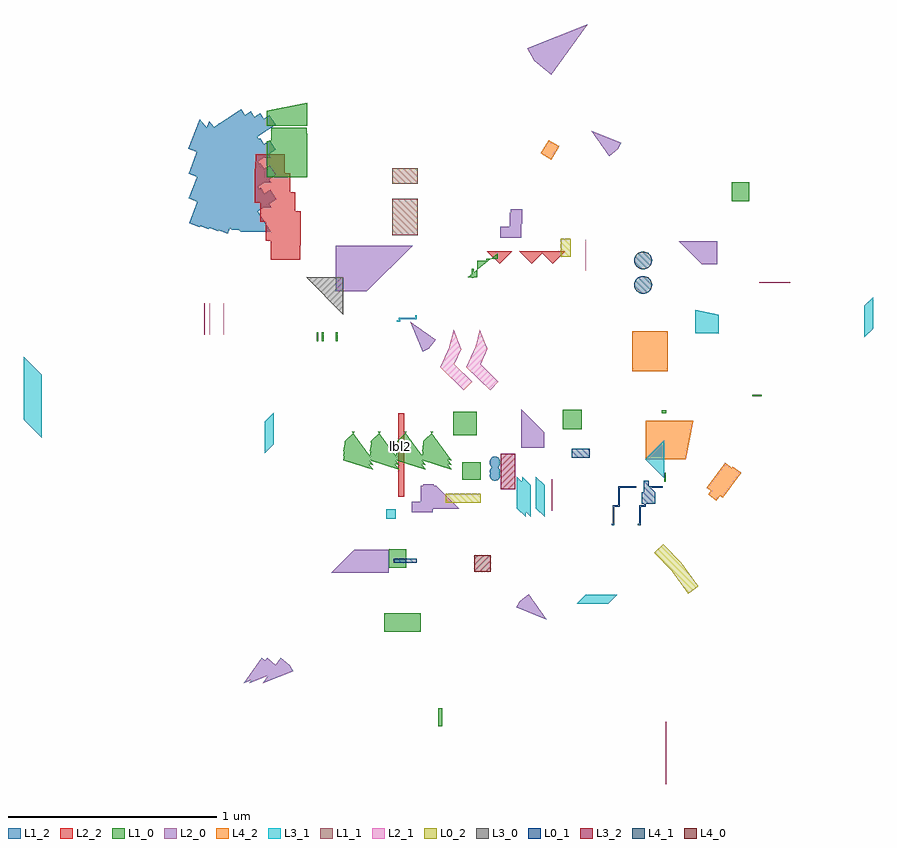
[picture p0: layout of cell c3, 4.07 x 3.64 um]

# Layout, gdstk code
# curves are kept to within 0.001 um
from math import pi, radians
import gdstk
lib = gdstk.Library(unit=1e-6, precision=5e-10)
def R(c, l, rs):  # rectangles x0, y0, x1, y1
    for r in rs: c.add(gdstk.rectangle(r[:2], r[2:], *l))
def A(c, l, x, y, w, h, nx, ny, dx, dy):  # array of equal rectangles
    R(c, l, [(x+i*dx, y+j*dy, x+i*dx+w, y+j*dy+h) for i in range(nx) for j in range(ny)])
def P(c, l, *ps):  # polygons
    for p in ps: c.add(gdstk.Polygon(p, *l))
L0_1 = (0, 1)
L0_2 = (0, 2)
L1_0 = (1, 0)
L1_1 = (1, 1)
L1_2 = (1, 2)
L2_0 = (2, 0)
L2_1 = (2, 1)
L2_2 = (2, 2)
L3_0 = (3, 0)
L3_1 = (3, 1)
L3_2 = (3, 2)
L4_0 = (4, 0)
L4_1 = (4, 1)
L4_2 = (4, 2)

c_c0 = lib.new_cell('c0')
R(c_c0, L1_0, [(0.7285,0.0275,0.772,0.0365), (-0.6625,0.3525,-0.5735,0.4365)])
P(c_c0, L2_0, [(-0.38,0.098),(-0.38,0.283),(-0.27,0.283),(-0.27,0.208)],
  [(-0.911,-0.321),(-0.789,-0.2345),(-0.8235,-0.193),(-0.8525,-0.1765)])
P(c_c0, L3_1, [(-0.0705,0.9875),(-0.113,1.03),(0.038,1.03),(0.0805,0.9875)])
R(c_c0, L3_2, [(0.761,-0.51,0.9105,-0.5085)])
c_c0.add(gdstk.Label('lbl2', (-0.6935,-0.769), layer=2, texttype=2))
c_c0.add(gdstk.Label('lbl2', (-0.4865,-0.769), layer=2, texttype=2))
c_c0.add(gdstk.Label('lbl2', (-0.2795,-0.769), layer=2, texttype=2))

c_c1 = lib.new_cell('c1')
R(c_c1, L0_1, [(-0.62,-0.3805,-0.51,-0.3605)])
R(c_c1, L1_0, [(-0.3355,0.231,-0.2225,0.344), (0.663,0.3355,0.686,0.35)])
R(c_c1, L3_1, [(-0.6555,-0.1695,-0.61,-0.124)])
P(c_c1, L3_1, [(0.677,0.026),(0.586,0.117),(0.677,0.208)],
  [(0.825,0.7205),(0.825,0.8325),(0.9365,0.8095),(0.9365,0.7175)])
R(c_c1, L4_0, [(-0.2345,-0.422,-0.1555,-0.343)])
P(c_c1, L4_1, [(0.6175,0.9515),(0.614,0.968),(0.6105,0.9755),(0.605,0.982),(0.5985,0.9875),(0.591,0.991),(0.5745,0.9945),(0.558,0.991),(0.5505,0.9875),(0.544,0.982),(0.5385,0.9755),(0.535,0.968),(0.5315,0.9515),(0.535,0.935),(0.5385,0.9275),(0.544,0.921),(0.5505,0.9155),(0.558,0.912),(0.5745,0.9085),(0.591,0.912),(0.5985,0.9155),(0.605,0.921),(0.6105,0.9275),(0.614,0.935)],
  [(0.6175,1.069),(0.614,1.0855),(0.6105,1.093),(0.605,1.0995),(0.5985,1.105),(0.591,1.1085),(0.5745,1.112),(0.558,1.1085),(0.5505,1.105),(0.544,1.0995),(0.5385,1.093),(0.535,1.0855),(0.5315,1.069),(0.535,1.0525),(0.5385,1.045),(0.544,1.0385),(0.5505,1.033),(0.558,1.0295),(0.5745,1.026),(0.591,1.0295),(0.5985,1.033),(0.605,1.0385),(0.6105,1.045),(0.614,1.0525)])
R(c_c1, L4_2, [(0.523,0.5385,0.6935,0.729)])
c_c1.add(gdstk.FlexPath([(-0.2855,0.4875),(-0.3645,0.564),(-0.3265,0.648),(-0.333,0.7325),(-0.3295,0.6755)], 0.057, ends="extended", simple_path=True, layer=2, datatype=1))  # L2_1
c_c1.add(gdstk.FlexPath([(-0.1595,0.4875),(-0.2385,0.564),(-0.2005,0.648),(-0.207,0.7325),(-0.2035,0.6755)], 0.057, ends="extended", simple_path=True, layer=2, datatype=1))  # L2_1
c_c1.add(gdstk.FlexPath([(0.427,-0.1975),(0.4335,-0.1975),(0.4335,-0.1075),(0.4585,-0.1075),(0.4585,-0.016),(0.5125,-0.016)], 0.007, ends=(0.0035, 0.0305), simple_path=True, layer=0, datatype=1))  # L0_1
c_c1.add(gdstk.FlexPath([(0.553,-0.1975),(0.5595,-0.1975),(0.5595,-0.1075),(0.5845,-0.1075),(0.5845,-0.016),(0.6385,-0.016)], 0.007, ends=(0.0035, 0.0305), simple_path=True, layer=0, datatype=1))  # L0_1
c_c1.add(gdstk.FlexPath([(0.652,-0.315),(0.7345,-0.4),(0.7965,-0.486)], 0.059, ends=(0.0035, 0.0305), simple_path=True, layer=0, datatype=2))  # L0_2
c_c1.add(gdstk.FlexPath([(0.9855,0.081),(0.918,-0.0105)], 0.049, ends=(0.0035, 0.0305), simple_path=True, layer=4, datatype=2))  # L4_2
c_c1.add(gdstk.FlexPath([(0.9925,0.049),(0.925,-0.0425)], 0.049, ends=(0.0035, 0.0305), simple_path=True, layer=4, datatype=2))  # L4_2
c_c1.add(gdstk.FlexPath([(1.0225,0.063),(0.955,-0.0285)], 0.049, ends=(0.0035, 0.0305), simple_path=True, layer=4, datatype=2))  # L4_2
c_c1.add(gdstk.Reference(c_c0, (0.6475,0.7805), rotation=3*pi/2))
c_c1.add(gdstk.Reference(c_c0, (-0.209,0.2585), rotation=pi/2))
c_c1.add(gdstk.Reference(c_c0, (0.3705,0.454), x_reflection=True))
c_c1.add(gdstk.Reference(c_c0, (-0.3335,0.3805), rotation=3*pi/2, magnification=2, x_reflection=True))

c_c2 = lib.new_cell('c2')
P(c_c2, L1_0, [(-0.3415,-0.4095),(-0.1985,-0.3655),(-0.2055,-0.3285),(-0.2045,-0.3165),(-0.2515,-0.2725),(-0.242,-0.272),(-0.238,-0.2695)],
  [(-0.216,-0.4095),(-0.073,-0.3655),(-0.08,-0.3285),(-0.079,-0.3165),(-0.126,-0.2725),(-0.1165,-0.272),(-0.1125,-0.2695)],
  [(-0.0905,-0.4095),(0.0525,-0.3655),(0.0455,-0.3285),(0.0465,-0.3165),(-0.0005,-0.2725),(0.009,-0.272),(0.013,-0.2695)],
  [(0.035,-0.4095),(0.178,-0.3655),(0.171,-0.3285),(0.172,-0.3165),(0.125,-0.2725),(0.1345,-0.272),(0.1385,-0.2695)],
  [(-0.3415,-0.388),(-0.1985,-0.344),(-0.2055,-0.307),(-0.2045,-0.295),(-0.2515,-0.251),(-0.242,-0.2505),(-0.238,-0.248)],
  [(-0.216,-0.388),(-0.073,-0.344),(-0.08,-0.307),(-0.079,-0.295),(-0.126,-0.251),(-0.1165,-0.2505),(-0.1125,-0.248)],
  [(-0.0905,-0.388),(0.0525,-0.344),(0.0455,-0.307),(0.0465,-0.295),(-0.0005,-0.251),(0.009,-0.2505),(0.013,-0.248)],
  [(0.035,-0.388),(0.178,-0.344),(0.171,-0.307),(0.172,-0.295),(0.125,-0.251),(0.1345,-0.2505),(0.1385,-0.248)],
  [(-0.3415,-0.3665),(-0.1985,-0.3225),(-0.2055,-0.2855),(-0.2045,-0.2735),(-0.2515,-0.2295),(-0.242,-0.229),(-0.238,-0.2265)],
  [(-0.216,-0.3665),(-0.073,-0.3225),(-0.08,-0.2855),(-0.079,-0.2735),(-0.126,-0.2295),(-0.1165,-0.229),(-0.1125,-0.2265)],
  [(-0.0905,-0.3665),(0.0525,-0.3225),(0.0455,-0.2855),(0.0465,-0.2735),(-0.0005,-0.2295),(0.009,-0.229),(0.013,-0.2265)],
  [(0.035,-0.3665),(0.178,-0.3225),(0.171,-0.2855),(0.172,-0.2735),(0.125,-0.2295),(0.1345,-0.229),(0.1385,-0.2265)])
c_c2.add(gdstk.FlexPath([(0.5455,0.888),(0.625,0.8355),(0.573,0.7555),(0.657,0.756),(0.72,0.8305),(0.758,0.731)], 0.054, ends=(0.0365, 0), simple_path=True, layer=1, datatype=2))  # L1_2
c_c2.add(gdstk.FlexPath([(0.5905,0.898),(0.67,0.8455),(0.618,0.7655),(0.702,0.766),(0.765,0.8405),(0.803,0.741)], 0.054, ends=(0.0365, 0), simple_path=True, layer=1, datatype=2))  # L1_2
c_c2.add(gdstk.FlexPath([(0.6355,0.908),(0.715,0.8555),(0.663,0.7755),(0.747,0.776),(0.81,0.8505),(0.848,0.751)], 0.054, ends=(0.0365, 0), simple_path=True, layer=1, datatype=2))  # L1_2
c_c2.add(gdstk.FlexPath([(0.6805,0.918),(0.76,0.8655),(0.708,0.7855),(0.792,0.786),(0.855,0.8605),(0.893,0.761)], 0.054, ends=(0.0365, 0), simple_path=True, layer=1, datatype=2))  # L1_2
c_c2.add(gdstk.FlexPath([(0.5465,1.007),(0.626,0.9545),(0.574,0.8745),(0.658,0.875),(0.721,0.9495),(0.759,0.85)], 0.054, ends=(0.0365, 0), simple_path=True, layer=1, datatype=2))  # L1_2
c_c2.add(gdstk.FlexPath([(0.5915,1.017),(0.671,0.9645),(0.619,0.8845),(0.703,0.885),(0.766,0.9595),(0.804,0.86)], 0.054, ends=(0.0365, 0), simple_path=True, layer=1, datatype=2))  # L1_2
c_c2.add(gdstk.FlexPath([(0.6365,1.027),(0.716,0.9745),(0.664,0.8945),(0.748,0.895),(0.811,0.9695),(0.849,0.87)], 0.054, ends=(0.0365, 0), simple_path=True, layer=1, datatype=2))  # L1_2
c_c2.add(gdstk.FlexPath([(0.6815,1.037),(0.761,0.9845),(0.709,0.9045),(0.793,0.905),(0.856,0.9795),(0.894,0.88)], 0.054, ends=(0.0365, 0), simple_path=True, layer=1, datatype=2))  # L1_2
c_c2.add(gdstk.FlexPath([(0.5475,1.126),(0.627,1.0735),(0.575,0.9935),(0.659,0.994),(0.722,1.0685),(0.76,0.969)], 0.054, ends=(0.0365, 0), simple_path=True, layer=1, datatype=2))  # L1_2
c_c2.add(gdstk.FlexPath([(0.5925,1.136),(0.672,1.0835),(0.62,1.0035),(0.704,1.004),(0.767,1.0785),(0.805,0.979)], 0.054, ends=(0.0365, 0), simple_path=True, layer=1, datatype=2))  # L1_2
c_c2.add(gdstk.FlexPath([(0.6375,1.146),(0.717,1.0935),(0.665,1.0135),(0.749,1.014),(0.812,1.0885),(0.85,0.989)], 0.054, ends=(0.0365, 0), simple_path=True, layer=1, datatype=2))  # L1_2
c_c2.add(gdstk.FlexPath([(0.6825,1.156),(0.762,1.1035),(0.71,1.0235),(0.794,1.024),(0.857,1.0985),(0.895,0.999)], 0.054, ends=(0.0365, 0), simple_path=True, layer=1, datatype=2))  # L1_2
c_c2.add(gdstk.FlexPath([(0.5485,1.245),(0.628,1.1925),(0.576,1.1125),(0.66,1.113),(0.723,1.1875),(0.761,1.088)], 0.054, ends=(0.0365, 0), simple_path=True, layer=1, datatype=2))  # L1_2
c_c2.add(gdstk.FlexPath([(0.5935,1.255),(0.673,1.2025),(0.621,1.1225),(0.705,1.123),(0.768,1.1975),(0.806,1.098)], 0.054, ends=(0.0365, 0), simple_path=True, layer=1, datatype=2))  # L1_2
c_c2.add(gdstk.FlexPath([(0.6385,1.265),(0.718,1.2125),(0.666,1.1325),(0.75,1.133),(0.813,1.2075),(0.851,1.108)], 0.054, ends=(0.0365, 0), simple_path=True, layer=1, datatype=2))  # L1_2
c_c2.add(gdstk.FlexPath([(0.6835,1.275),(0.763,1.2225),(0.711,1.1425),(0.795,1.143),(0.858,1.2175),(0.896,1.118)], 0.054, ends=(0.0365, 0), simple_path=True, layer=1, datatype=2))  # L1_2
c_c2.add(gdstk.Reference(c_c1, (-0.6835,-0.4765), rotation=pi, x_reflection=True))

c_c3 = lib.new_cell('c3')
R(c_c3, L0_2, [(-0.1245,-0.9215,0.0425,-0.8775)])
R(c_c3, L1_0, [(0.4345,-0.5695,0.5275,-0.474)])
P(c_c3, L1_0, [(-0.019,0.16),(0.0255,0.16),(0.0255,0.2385),(0.0685,0.2385),(0.0685,0.2495),(0.123,0.2495),(0.123,0.2755)],
  [(-0.9835,0.639),(-0.9835,0.711),(-0.7885,0.7485),(-0.7885,0.639)],
  [(-0.9835,0.694),(-0.9835,0.766),(-0.7885,0.8035),(-0.7885,0.694)],
  [(-0.9835,0.7395),(-0.9835,0.8115),(-0.7885,0.849),(-0.7885,0.7395)],
  [(-0.9835,0.8865),(-0.9835,0.9585),(-0.7885,0.996),(-0.7885,0.8865)])
R(c_c3, L1_1, [(-0.3815,0.3605,-0.2595,0.4355), (-0.3815,0.4155,-0.2595,0.4905), (-0.3815,0.461,-0.2595,0.536), (-0.3815,0.608,-0.2595,0.683)])
P(c_c3, L1_2, [(0.135,-0.7915),(0.133,-0.782),(0.128,-0.774),(0.12,-0.769),(0.1105,-0.767),(0.101,-0.769),(0.093,-0.774),(0.088,-0.782),(0.086,-0.7915),(0.088,-0.801),(0.093,-0.809),(0.101,-0.814),(0.1105,-0.816),(0.12,-0.814),(0.128,-0.809),(0.133,-0.801)],
  [(0.135,-0.7705),(0.133,-0.761),(0.128,-0.753),(0.12,-0.748),(0.1105,-0.746),(0.101,-0.748),(0.093,-0.753),(0.088,-0.761),(0.086,-0.7705),(0.088,-0.78),(0.093,-0.788),(0.101,-0.793),(0.1105,-0.795),(0.12,-0.793),(0.128,-0.788),(0.133,-0.78)],
  [(0.135,-0.7315),(0.133,-0.722),(0.128,-0.714),(0.12,-0.709),(0.1105,-0.707),(0.101,-0.709),(0.093,-0.714),(0.088,-0.722),(0.086,-0.7315),(0.088,-0.741),(0.093,-0.749),(0.101,-0.754),(0.1105,-0.756),(0.12,-0.754),(0.128,-0.749),(0.133,-0.741)],
  [(0.135,-0.7235),(0.133,-0.714),(0.128,-0.706),(0.12,-0.701),(0.1105,-0.699),(0.101,-0.701),(0.093,-0.706),(0.088,-0.714),(0.086,-0.7235),(0.088,-0.733),(0.093,-0.741),(0.101,-0.746),(0.1105,-0.748),(0.12,-0.746),(0.128,-0.741),(0.133,-0.733)])
A(c_c3, L2_2, -0.353, -0.893, 0.029, 0.191, 1, 4, 0, 0.07)
R(c_c3, L2_2, [(-0.963,0.245,-0.8235,0.408), (-0.961,0.2795,-0.8215,0.4425), (-0.959,0.314,-0.8195,0.477), (-0.989,0.3355,-0.8495,0.4985), (-0.987,0.37,-0.8475,0.533), (-0.985,0.4045,-0.8455,0.5675), (-1.015,0.426,-0.8755,0.589), (-1.013,0.4605,-0.8735,0.6235), (-1.011,0.495,-0.8715,0.658), (-1.041,0.5165,-0.9015,0.6795), (-1.039,0.551,-0.8995,0.714), (-1.037,0.5855,-0.8975,0.7485)])
P(c_c3, L2_2, [(0.072,0.285),(0.193,0.285),(0.1325,0.2245)],
  [(0.226,0.285),(0.347,0.285),(0.2865,0.2245)],
  [(0.3275,0.285),(0.4485,0.285),(0.388,0.2245)])
P(c_c3, L3_0, [(-0.7935,0.159),(-0.6155,0.159),(-0.6155,-0.019)])
R(c_c3, L3_2, [(0.139,-0.857,0.208,-0.6855)])
P(c_c3, L4_2, [(0.834,-0.527),(0.9705,-0.527),(0.934,-0.712),(0.834,-0.712)],
  [(0.859,-0.527),(0.9955,-0.527),(0.959,-0.712),(0.859,-0.712)],
  [(0.9255,-0.527),(1.062,-0.527),(1.0255,-0.712),(0.9255,-0.712)])
c_c3.add(gdstk.FlexPath([(0.572,-0.684),(0.511,-0.684)], 0.044, ends=(-0.0075, 0.032), simple_path=True, layer=0, datatype=1))  # L0_1
c_c3.add(gdstk.FlexPath([(-0.3585,-0.05),(-0.3475,-0.05),(-0.3475,-0.0385),(-0.268,-0.0385),(-0.268,-0.012)], 0.007, ends=(0.0005, -0.01), simple_path=True, layer=3, datatype=1))  # L3_1
c_c3.add(gdstk.FlexPath([(0.136,0.376),(0.2095,0.376),(0.2095,0.443),(0.2145,0.443),(0.2145,0.4955)], 0.054, ends=(0.0005, -0.01), simple_path=True, layer=2, datatype=0))  # L2_0
c_c3.add(gdstk.FlexPath([(-0.287,-0.941),(-0.2135,-0.941),(-0.2135,-0.874),(-0.2085,-0.874),(-0.2085,-0.8215)], 0.05, ends=(0.0005, -0.01), simple_path=True, layer=2, datatype=0))  # L2_0
c_c3.add(gdstk.FlexPath([(0.815,-0.8975),(0.8525,-0.8975),(0.8525,-0.843),(0.859,-0.843)], 0.055, ends=(0.0005, -0.01), simple_path=True, layer=0, datatype=1))  # L0_1
c_c3.add(gdstk.FlexPath([(0.3515,0.7305),(0.394,0.802)], 0.059, ends=(-0.009, 0), simple_path=True, layer=4, datatype=2))  # L4_2
c_c3.add(gdstk.FlexPath([(0.4505,0.3435),(0.4505,0.2725)], 0.049, ends=(0, 0.0135), simple_path=True, layer=0, datatype=2))  # L0_2
c_c3.add(gdstk.Reference(c_c0, (-0.772,-0.876), rotation=pi/2, x_reflection=True))
c_c3.add(gdstk.Reference(c_c0, (-0.747,-0.876), rotation=pi/2, x_reflection=True))
c_c3.add(gdstk.Reference(c_c0, (-0.6805,-0.876), rotation=pi/2, x_reflection=True))
c_c3.add(gdstk.Reference(c_c2, (-0.4375,-0.352), rotation=pi, x_reflection=True))
c_c3.add(gdstk.Label('lbl2', (-0.341,-0.652), layer=3, texttype=1))

lib.write_gds('c3.gds')
